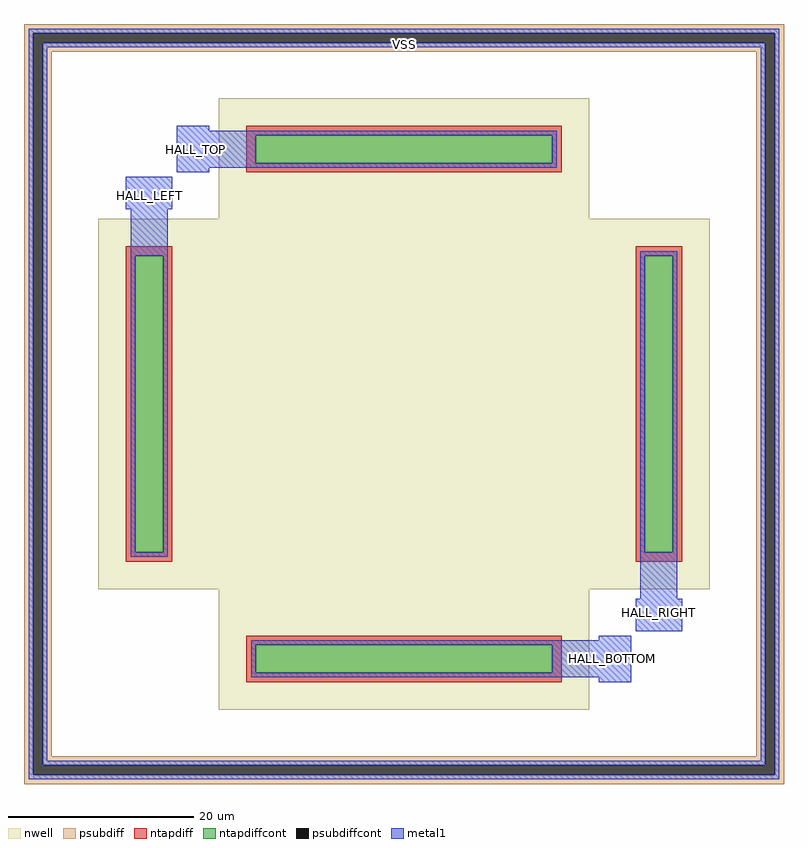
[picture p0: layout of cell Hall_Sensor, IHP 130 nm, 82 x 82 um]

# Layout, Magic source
magic
tech ihp-sg13g2
<< nwell >>
rect -500 1500 3500 2800
rect -1800 -2500 4800 1500
rect -500 -3800 3500 -2500
<< psubdiff >>
rect -2600 3500 5600 3600
rect -2600 -4500 -2500 3500
rect -2400 3300 5400 3400
rect -2400 -4300 -2300 3300
rect 5300 -4300 5400 3300
rect -2400 -4400 5400 -4300
rect 5500 -4500 5600 3500
rect -2600 -4600 5600 -4500
<< ntapdiff >>
rect -200 2400 3200 2500
rect -200 2100 -100 2400
rect 3100 2100 3200 2400
rect -200 2000 3200 2100
rect -1500 1100 -1000 1200
rect -1500 -2100 -1400 1100
rect -1100 -2100 -1000 1100
rect -1500 -2200 -1000 -2100
rect 4000 1100 4500 1200
rect 4000 -2100 4100 1100
rect 4400 -2100 4500 1100
rect 4000 -2200 4500 -2100
rect -200 -3100 3200 -3000
rect -200 -3400 -100 -3100
rect 3100 -3400 3200 -3100
rect -200 -3500 3200 -3400
<< psubdiffcont >>
rect -2500 3400 5500 3500
rect -2500 -4400 -2400 3400
rect 5400 -4400 5500 3400
rect -2500 -4500 5500 -4400
<< ntapdiffcont >>
rect -100 2100 3100 2400
rect -1400 -2100 -1100 1100
rect 4100 -2100 4400 1100
rect -100 -3400 3100 -3100
<< metal1 >>
rect -2550 3500 5550 3550
rect -2550 -4500 -2500 3500
rect -2400 3350 5400 3400
rect -2400 -4350 -2350 3350
rect -950 2450 -600 2500
rect -950 2400 3150 2450
rect -950 2100 -100 2400
rect 3100 2100 3150 2400
rect -950 2050 3150 2100
rect -950 2000 -600 2050
rect -1500 1600 -1000 1950
rect -1450 1100 -1050 1600
rect -1450 -2100 -1400 1100
rect -1100 -2100 -1050 1100
rect -1450 -2150 -1050 -2100
rect 4050 1100 4450 1150
rect 4050 -2100 4100 1100
rect 4400 -2100 4450 1100
rect 4050 -2600 4450 -2100
rect 4000 -2950 4500 -2600
rect 3600 -3050 3950 -3000
rect -150 -3100 3950 -3050
rect -150 -3400 -100 -3100
rect 3100 -3400 3950 -3100
rect -150 -3450 3950 -3400
rect 3600 -3500 3950 -3450
rect 5350 -4350 5400 3350
rect -2400 -4400 5400 -4350
rect 5500 -4500 5550 3500
rect -2550 -4550 5550 -4500
<< labels >>
flabel metal1 3700 -3300 3800 -3200 0 FreeSans 128 0 0 0 HALL_BOTTOM
port 3 nsew
flabel metal1 4200 -2800 4300 -2700 0 FreeSans 128 0 0 0 HALL_RIGHT
port 2 nsew
flabel metal1 -800 2200 -700 2300 0 FreeSans 128 0 0 0 HALL_TOP
port 0 nsew
flabel metal1 -1300 1700 -1200 1800 0 FreeSans 128 0 0 0 HALL_LEFT
port 1 nsew
rlabel metal1 -2400 3350 5400 3400 1 VSS
port 4 n
<< end >>
